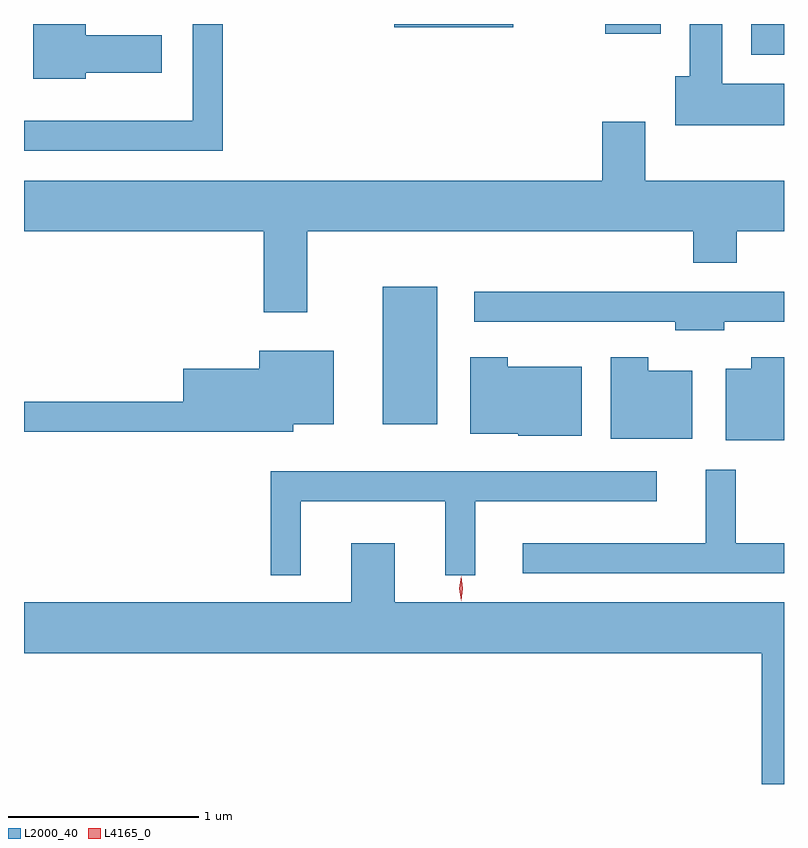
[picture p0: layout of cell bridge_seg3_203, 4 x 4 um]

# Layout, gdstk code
import gdstk
lib = gdstk.Library(unit=1e-6, precision=1e-09)
def R(c, l, rs):  # rectangles x0, y0, x1, y1
    for r in rs: c.add(gdstk.rectangle(r[:2], r[2:], *l))
def P(c, l, *ps):  # polygons
    for p in ps: c.add(gdstk.Polygon(p, *l))
L2000_40 = (2000, 40)
L4165_0 = (4165, 0)

bridge_seg3_203 = lib.new_cell('bridge_seg3_203')
R(bridge_seg3_203, L2000_40, [(1069.166,1160.521,1069.454,1161.244), (1071.106,1162.466,1071.278,1162.628), (1070.336,1162.576,1070.629,1162.628), (1069.226,1162.611,1069.854,1162.628)])
P(bridge_seg3_203, L2000_40, [(1067.604,1162.371),(1068.004,1162.371),(1068.004,1162.569),(1067.604,1162.569),(1067.604,1162.628),(1067.326,1162.628),(1067.326,1162.341),(1067.604,1162.341)],
  [(1071.278,1162.314),(1070.954,1162.314),(1070.954,1162.628),(1070.781,1162.628),(1070.781,1162.354),(1070.706,1162.354),(1070.706,1162.096),(1071.278,1162.096)],
  [(1068.324,1162.628),(1068.166,1162.628),(1068.166,1162.119),(1067.278,1162.119),(1067.278,1161.961),(1068.324,1161.961)],
  [(1068.769,1161.536),(1070.801,1161.536),(1070.801,1161.371),(1071.029,1161.371),(1071.029,1161.536),(1071.278,1161.536),(1071.278,1161.804),(1070.549,1161.804),(1070.549,1162.114),(1070.321,1162.114),(1070.321,1161.804),(1067.278,1161.804),(1067.278,1161.536),(1068.541,1161.536),(1068.541,1161.111),(1068.769,1161.111)],
  [(1070.964,1161.061),(1071.278,1161.061),(1071.278,1161.219),(1069.648,1161.219),(1069.648,1161.061),(1070.706,1161.061),(1070.706,1161.016),(1070.964,1161.016)],
  [(1068.694,1160.521),(1068.909,1160.521),(1068.909,1160.909),(1068.516,1160.909),(1068.516,1160.814),(1068.116,1160.814),(1068.116,1160.639),(1067.278,1160.639),(1067.278,1160.481),(1068.694,1160.481)],
  [(1070.214,1160.824),(1069.824,1160.824),(1069.824,1160.874),(1069.626,1160.874),(1069.626,1160.471),(1069.88,1160.471),(1069.88,1160.461),(1070.214,1160.461)],
  [(1071.278,1160.874),(1071.106,1160.874),(1071.106,1160.814),(1070.971,1160.814),(1070.971,1160.436),(1071.278,1160.436)],
  [(1070.794,1160.804),(1070.564,1160.804),(1070.564,1160.874),(1070.366,1160.874),(1070.366,1160.446),(1070.794,1160.446)],
  [(1071.278,1159.894),(1071.024,1159.894),(1071.024,1160.283),(1070.866,1160.283),(1070.866,1159.894),(1069.903,1159.894),(1069.903,1159.736),(1071.278,1159.736)],
  [(1068.734,1160.116),(1069.496,1160.116),(1069.496,1159.728),(1069.654,1159.728),(1069.654,1160.116),(1070.608,1160.116),(1070.608,1160.274),(1068.576,1160.274),(1068.576,1159.728),(1068.734,1159.728)],
  [(1071.278,1159.584),(1069.229,1159.584),(1069.229,1159.894),(1069.001,1159.894),(1069.001,1159.584),(1067.278,1159.584),(1067.278,1159.316),(1071.161,1159.316),(1071.161,1158.628),(1071.278,1158.628)])
P(bridge_seg3_203, L4165_0, [(1069.578,1159.593),(1069.568,1159.658),(1069.578,1159.722),(1069.578,1159.722),(1069.579,1159.722),(1069.588,1159.658),(1069.579,1159.593),(1069.579,1159.593)])

lib.write_gds('bridge_seg3_203.gds')
